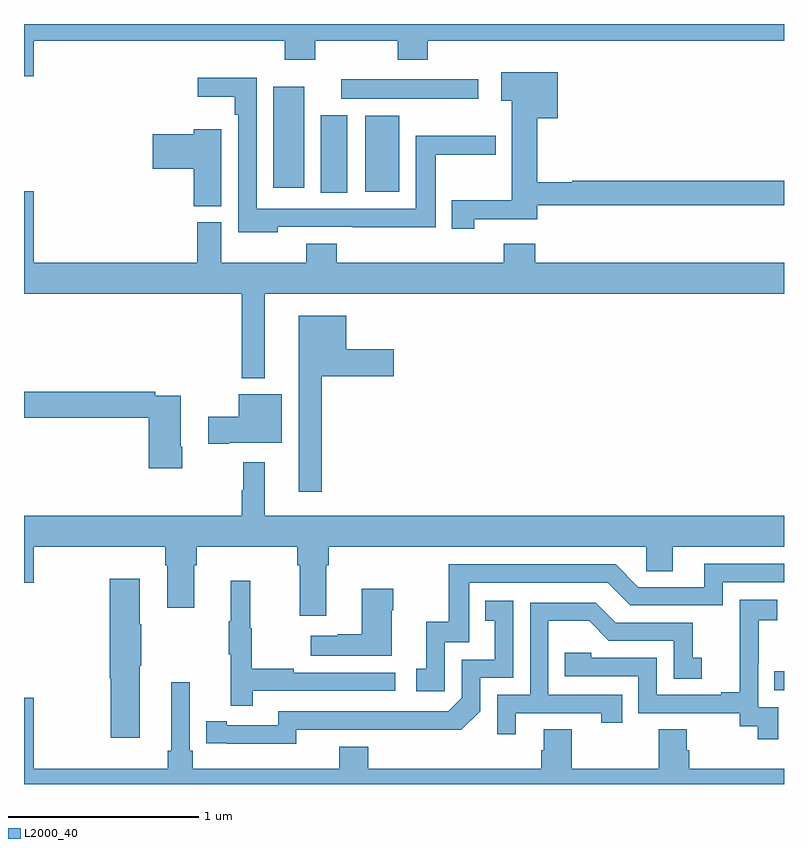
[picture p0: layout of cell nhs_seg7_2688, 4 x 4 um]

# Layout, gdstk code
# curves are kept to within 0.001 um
import gdstk
lib = gdstk.Library(unit=1e-6, precision=1e-09)
def R(c, l, rs):  # rectangles x0, y0, x1, y1
    for r in rs: c.add(gdstk.rectangle(r[:2], r[2:], *l))
def P(c, l, *ps):  # polygons
    for p in ps: c.add(gdstk.Polygon(p, *l))
L2000_40 = (2000, 40)

nhs_seg7_2688 = lib.new_cell('nhs_seg7_2688')
R(nhs_seg7_2688, L2000_40, [(288.949,1034.493,289,1034.594), (286.562,1037.113,286.702,1037.521), (286.796,1037.117,286.975,1037.518), (286.313,1037.139,286.474,1037.671), (286.671,1037.606,287.392,1037.71)])
P(nhs_seg7_2688, L2000_40, [(289,1038),(285,1038),(285,1037.724),(285.052,1037.724),(285.052,1037.912),(286.373,1037.912),(286.373,1037.813),(286.533,1037.813),(286.533,1037.912),(286.966,1037.912),(286.966,1037.813),(287.126,1037.813),(287.126,1037.912),(289,1037.912)],
  [(287.37,1036.973),(287.702,1036.973),(287.702,1037.046),(289,1037.046),(289,1037.174),(287.885,1037.174),(287.885,1037.167),(287.702,1037.167),(287.702,1037.504),(287.809,1037.504),(287.809,1037.746),(287.511,1037.746),(287.511,1037.597),(287.567,1037.597),(287.567,1037.073),(287.252,1037.073),(287.252,1036.923),(287.37,1036.923)],
  [(286.335,1036.932),(286.729,1036.932),(286.729,1036.93),(287.167,1036.93),(287.167,1037.311),(287.482,1037.311),(287.482,1037.411),(287.063,1037.411),(287.063,1037.028),(286.224,1037.028),(286.224,1037.717),(285.915,1037.717),(285.915,1037.618),(286.108,1037.618),(286.108,1037.522),(286.128,1037.522),(286.128,1036.904),(286.335,1036.904)],
  [(286.039,1037.446),(285.893,1037.446),(285.893,1037.42),(285.678,1037.42),(285.678,1037.237),(285.893,1037.237),(285.893,1037.041),(286.039,1037.041)],
  [(286.267,1036.58),(289,1036.58),(289,1036.744),(287.69,1036.744),(287.69,1036.843),(287.525,1036.843),(287.525,1036.744),(286.646,1036.744),(286.646,1036.843),(286.486,1036.843),(286.486,1036.744),(286.039,1036.744),(286.039,1036.956),(285.911,1036.956),(285.911,1036.744),(285.052,1036.744),(285.052,1037.119),(285,1037.119),(285,1036.58),(286.146,1036.58),(286.146,1036.136),(286.267,1036.136)],
  [(286.567,1036.145),(286.945,1036.145),(286.945,1036.287),(286.696,1036.287),(286.696,1036.465),(286.445,1036.465),(286.445,1035.537),(286.567,1035.537)],
  [(285.834,1035.775),(285.826,1035.775),(285.826,1036.044),(285.692,1036.044),(285.692,1036.064),(285,1036.064),(285,1035.928),(285.656,1035.928),(285.656,1035.663),(285.834,1035.663)],
  [(286.081,1035.797),(286.357,1035.797),(286.357,1036.051),(286.13,1036.051),(286.13,1035.932),(285.969,1035.932),(285.969,1035.79),(286.081,1035.79)],
  [(286.591,1035.152),(286.604,1035.152),(286.604,1035.248),(288.276,1035.248),(288.276,1035.121),(288.415,1035.121),(288.415,1035.248),(289,1035.248),(289,1035.412),(286.267,1035.412),(286.267,1035.694),(286.153,1035.694),(286.153,1035.545),(286.146,1035.545),(286.146,1035.412),(285,1035.412),(285,1035.06),(285.052,1035.06),(285.052,1035.248),(285.743,1035.248),(285.743,1035.152),(285.755,1035.152),(285.755,1034.928),(285.895,1034.928),(285.895,1035.152),(285.908,1035.152),(285.908,1035.248),(286.439,1035.248),(286.439,1035.152),(286.451,1035.152),(286.451,1034.886),(286.591,1034.886)],
  [(287.214,1034.745),(287.343,1034.745),(287.343,1035.06),(288.072,1035.06),(288.192,1034.94),(288.678,1034.94),(288.678,1035.063),(289,1035.063),(289,1035.159),(288.581,1035.159),(288.581,1035.036),(288.234,1035.036),(288.114,1035.156),(287.235,1035.156),(287.235,1034.853),(287.117,1034.853),(287.117,1034.607),(287.064,1034.607),(287.064,1034.487),(287.214,1034.487)],
  [(285.61,1034.623),(285.618,1034.623),(285.618,1034.84),(285.61,1034.84),(285.61,1035.079),(285.452,1035.079),(285.452,1034.556),(285.457,1034.556),(285.457,1034.244),(285.61,1034.244)],
  [(286.205,1034.49),(286.954,1034.49),(286.954,1034.586),(286.421,1034.586),(286.421,1034.606),(286.198,1034.606),(286.198,1034.82),(286.19,1034.82),(286.19,1035.07),(286.088,1035.07),(286.088,1034.857),(286.077,1034.857),(286.077,1034.683),(286.088,1034.683),(286.088,1034.412),(286.205,1034.412)],
  [(286.936,1034.915),(286.944,1034.915),(286.944,1035.028),(286.778,1035.028),(286.778,1034.789),(286.652,1034.789),(286.652,1034.779),(286.509,1034.779),(286.509,1034.675),(286.936,1034.675)],
  [(288.969,1034.403),(288.864,1034.403),(288.864,1034.632),(288.866,1034.632),(288.866,1034.861),(288.964,1034.861),(288.964,1034.971),(288.766,1034.971),(288.766,1034.765),(288.767,1034.765),(288.767,1034.482),(288.671,1034.482),(288.671,1034.469),(288.33,1034.469),(288.33,1034.664),(287.985,1034.664),(287.985,1034.691),(287.845,1034.691),(287.845,1034.568),(288.234,1034.568),(288.234,1034.373),(288.768,1034.373),(288.768,1034.305),(288.861,1034.305),(288.861,1034.235),(288.969,1034.235)],
  [(286.434,1034.286),(287.302,1034.285),(287.4,1034.382),(287.4,1034.559),(287.574,1034.559),(287.574,1034.965),(287.428,1034.965),(287.428,1034.859),(287.477,1034.859),(287.477,1034.655),(287.304,1034.655),(287.304,1034.454),(287.232,1034.382),(286.338,1034.382),(286.338,1034.31),(286.066,1034.31),(286.066,1034.33),(285.958,1034.33),(285.958,1034.214),(286.434,1034.213)],
  [(287.587,1034.373),(288.038,1034.373),(288.038,1034.322),(288.149,1034.322),(288.149,1034.469),(287.76,1034.469),(287.76,1034.858),(287.974,1034.858),(288.078,1034.754),(288.42,1034.754),(288.42,1034.555),(288.568,1034.555),(288.568,1034.665),(288.519,1034.665),(288.519,1034.85),(288.115,1034.85),(288.01,1034.955),(287.664,1034.955),(287.664,1034.469),(287.49,1034.469),(287.49,1034.262),(287.587,1034.262)],
  [(285.887,1034.176),(285.873,1034.176),(285.873,1034.536),(285.776,1034.536),(285.776,1034.176),(285.757,1034.176),(285.757,1034.08),(285.052,1034.08),(285.052,1034.455),(285,1034.455),(285,1034),(289,1034),(289,1034.08),(288.5,1034.08),(288.5,1034.178),(288.487,1034.178),(288.487,1034.288),(288.34,1034.288),(288.34,1034.08),(287.883,1034.08),(287.883,1034.288),(287.735,1034.288),(287.735,1034.178),(287.723,1034.178),(287.723,1034.08),(286.811,1034.08),(286.811,1034.197),(286.658,1034.197),(286.658,1034.08),(285.887,1034.08)])

lib.write_gds('nhs_seg7_2688.gds')
